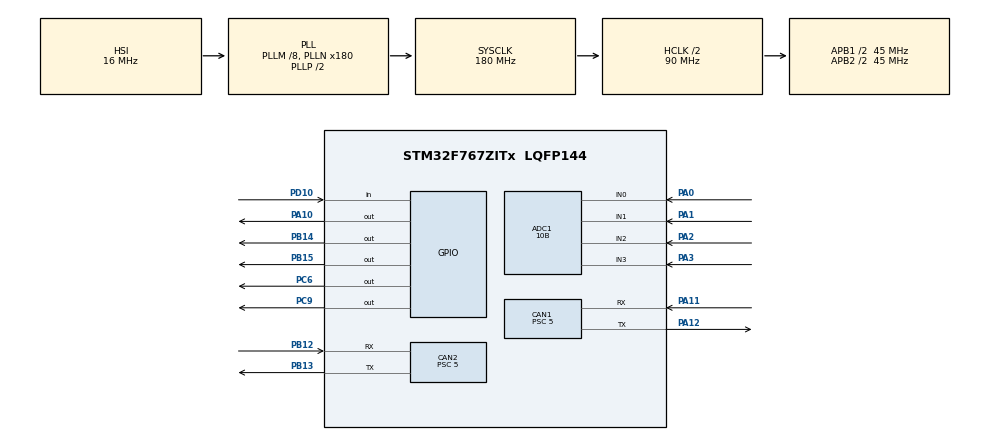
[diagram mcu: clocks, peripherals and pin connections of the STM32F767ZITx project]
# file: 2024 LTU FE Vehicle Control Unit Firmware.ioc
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ADC1.Channel-0\#ChannelRegularConversion=ADC_CHANNEL_0
ADC1.Channel-1\#ChannelRegularConversion=ADC_CHANNEL_1
ADC1.Channel-2\#ChannelRegularConversion=ADC_CHANNEL_2
ADC1.Channel-3\#ChannelRegularConversion=ADC_CHANNEL_3
ADC1.ClockPrescaler=ADC_CLOCK_SYNC_PCLK_DIV8
ADC1.NbrOfConversion=4
ADC1.NbrOfConversionFlag=1
ADC1.Rank-0\#ChannelRegularConversion=1
ADC1.Rank-1\#ChannelRegularConversion=2
ADC1.Rank-2\#ChannelRegularConversion=3
ADC1.Rank-3\#ChannelRegularConversion=4
ADC1.Resolution=ADC_RESOLUTION_10B
ADC1.SamplingTime-0\#ChannelRegularConversion=ADC_SAMPLETIME_56CYCLES
ADC1.SamplingTime-1\#ChannelRegularConversion=ADC_SAMPLETIME_56CYCLES
ADC1.SamplingTime-2\#ChannelRegularConversion=ADC_SAMPLETIME_56CYCLES
ADC1.SamplingTime-3\#ChannelRegularConversion=ADC_SAMPLETIME_56CYCLES
ADC1.master=1
CAN1.BS1=CAN_BS1_15TQ
CAN1.BS2=CAN_BS2_2TQ
CAN1.CalculateBaudRate=500000
CAN1.CalculateTimeBit=2000
CAN1.CalculateTimeQuantum=111.11111111111111
CAN1.NART=DISABLE
CAN1.Prescaler=5
CAN1.TXFP=DISABLE
CAN2.BS1=CAN_BS1_15TQ
CAN2.BS2=CAN_BS2_2TQ
CAN2.CalculateBaudRate=500000
CAN2.CalculateTimeBit=2000
CAN2.CalculateTimeQuantum=111.11111111111111
CAN2.Prescaler=5
Mcu.Family=STM32F7
Mcu.Name=STM32F767ZITx
Mcu.Package=LQFP144
NVIC.CAN1_RX0_IRQn=true\:7\:0\:true\:false\:true\:true\:true\:true
NVIC.CAN1_RX1_IRQn=true\:6\:0\:true\:false\:true\:true\:true\:true
NVIC.CAN2_RX0_IRQn=true\:1\:0\:true\:false\:true\:true\:true\:true
NVIC.CAN2_RX1_IRQn=true\:2\:0\:true\:false\:true\:true\:true\:true
NVIC.PriorityGroup=NVIC_PRIORITYGROUP_4
NVIC.TIM1_CC_IRQn=true\:0\:0\:false\:false\:true\:true\:true\:true
NVIC.TIM2_IRQn=true\:15\:0\:false\:false\:true\:false\:true\:true
NVIC.TimeBase=TIM2_IRQn
NVIC.TimeBaseIP=TIM2
PA0/WKUP.Signal=ADCx_IN0
PA1.Signal=ADCx_IN1
PA10.Signal=GPIO_Output
PA11.Mode=CAN_Activate
PA11.Signal=CAN1_RX
PA12.Mode=CAN_Activate
PA12.Signal=CAN1_TX
PA13.Mode=Serial_Wire
PA13.Signal=SYS_JTMS-SWDIO
PA14.Mode=Serial_Wire
PA14.Signal=SYS_JTCK-SWCLK
PA2.Signal=ADCx_IN2
PA3.Signal=ADCx_IN3
PB12.Mode=CAN_Activate
PB12.Signal=CAN2_RX
PB13.Mode=CAN_Activate
PB13.Signal=CAN2_TX
PB14.Signal=GPIO_Output
PB15.Signal=GPIO_Output
PC14/OSC32_IN.Mode=LSE-External-Clock-Source
PC14/OSC32_IN.Signal=RCC_OSC32_IN
PC15/OSC32_OUT.Mode=LSE-External-Clock-Source
PC15/OSC32_OUT.Signal=RCC_OSC32_OUT
PC6.Signal=GPIO_Output
PC9.Signal=GPIO_Output
PD10.GPIO_PuPd=GPIO_NOPULL
PD10.Signal=GPIO_Input
PH0/OSC_IN.Mode=HSE-External-Oscillator
PH0/OSC_IN.Signal=RCC_OSC_IN
PH1/OSC_OUT.Mode=HSE-External-Oscillator
PH1/OSC_OUT.Signal=RCC_OSC_OUT
ProjectManager.HeapSize=0x200
ProjectManager.StackSize=0x400
ProjectManager.TargetToolchain=STM32CubeIDE
RCC.AHBCLKDivider=RCC_SYSCLK_DIV2
RCC.AHBFreq_Value=90000000
RCC.APB1CLKDivider=RCC_HCLK_DIV2
RCC.APB1Freq_Value=45000000
RCC.APB1TimFreq_Value=90000000
RCC.APB2CLKDivider=RCC_HCLK_DIV2
RCC.APB2Freq_Value=45000000
RCC.APB2TimFreq_Value=90000000
RCC.CortexFreq_Value=90000000
RCC.HCLKFreq_Value=90000000
RCC.HSE_VALUE=25000000
RCC.HSI_VALUE=16000000
RCC.LSE_VALUE=32768
RCC.PLLM=8
RCC.PLLN=180
RCC.SYSCLKFreq_VALUE=180000000
RCC.SYSCLKSource=RCC_SYSCLKSOURCE_PLLCLK
RCC.USBFreq_Value=180000000
RCC.VCOOutputFreq_Value=360000000
SH.ADCx_IN0.0=ADC1_IN0,IN0
SH.ADCx_IN1.0=ADC1_IN1,IN1
SH.ADCx_IN2.0=ADC1_IN2,IN2
SH.ADCx_IN3.0=ADC1_IN3,IN3
TIM1.Channel-Output\ Compare1\ No\ Output=TIM_CHANNEL_1
TIM1.Period=10000-1
TIM1.Prescaler=18000-1
TIM1.Pulse-Output\ Compare1\ No\ Output=10000-1
VP_SYS_VS_tim2.Mode=TIM2
VP_TIM1_VS_ClockSourceINT.Mode=Internal
VP_TIM1_VS_no_output1.Mode=Output Compare1 No Output
board=custom

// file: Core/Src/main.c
/* USER CODE BEGIN Header */
/**
  ******************************************************************************
  * @file           : main.c
  * @brief          : Main program body
  ******************************************************************************
  * @attention
  *
  * Copyright (c) 2024 STMicroelectronics.
  * All rights reserved.
  *
  * This software is licensed under terms that can be found in the LICENSE file
  * in the root directory of this software component.
  * If no LICENSE file comes with this software, it is provided AS-IS.
  *
  ******************************************************************************
  */
/* USER CODE END Header */
#include "main.h"

/* USER CODE BEGIN Includes */

#include "FreeRTOS.h"
#include "task.h"
#include "queue.h"
#include "CAN.h"
#include "string.h"
#include "isolation.h"
#include "temp.h"

/* USER CODE END Includes */

/* USER CODE BEGIN PTD */

// Creates a boolean variable type
typedef enum
{

	true = 1,
	false = 0

} bool;

// Creates a CAN message typedef for queue
typedef struct
{
	uint8_t data[8];
	uint32_t StdID;
	uint32_t RTR;

} CAN_MsgHeaderTypedef;

/* USER CODE END PTD */

/* USER CODE BEGIN PD */

#define IGNITION_BUTTON_THRESHOLD 400
#define THROTTLE_DEVIATION_THRESHOLD 10

#define ADC_SAMPLE_COUNT 15
#define ADC_MAX_LIMIT 1023
#define ADC_MIN_LIMIT 0

#define NODE_GUARDING_PERIOD 150
#define TORQUE_CONTROL_PERIOD 10

#define CAN_HIGH_PRIORITY_FIFO CAN_FILTER_FIFO1
#define CAN_LOW_PRIORITY_FIFO CAN_FilterFIFO0

/* USER CODE END PD */

ADC_HandleTypeDef hadc1;

CAN_HandleTypeDef hcan1;
CAN_HandleTypeDef hcan2;

TIM_HandleTypeDef htim1;

/* USER CODE BEGIN PV */

/******************** GPIO Pin Definitions ********************/
// CAN Fault
GPIO_TypeDef* CAN_FAULT_PORT = GPIOC;
const uint16_t CAN_FAULT_PIN = GPIO_PIN_6;
const GPIO_PinState NO_FAULT_STATE = GPIO_PIN_SET;
const GPIO_PinState FAULT_STATE = GPIO_PIN_RESET;

// CAN Transreceiver
GPIO_TypeDef* CAN_ENABLE_1_PORT = GPIOA;
const uint16_t CAN_ENABLE_1_PIN = GPIO_PIN_10;
const GPIO_PinState CAN_ENABLE = GPIO_PIN_RESET;
const GPIO_PinState CAN_DISABLE = GPIO_PIN_SET;

// Ready to Drive(RTD) Speaker
GPIO_TypeDef* RTD_PIN_PORT = GPIOB;
const uint16_t RTD_PIN = GPIO_PIN_15;
const GPIO_PinState RTD_ACTIVE = GPIO_PIN_SET;
const GPIO_PinState RTD_DISABLE = GPIO_PIN_RESET;

// Ignition
GPIO_TypeDef* IGNITION_PORT = GPIOD;
const uint16_t IGNITION_PIN = GPIO_PIN_10;
const GPIO_PinState IGNITION_ACTIVE = GPIO_PIN_RESET;
const GPIO_PinState IGNITION_INACTIVE = GPIO_PIN_SET;

/******************** Timer Definitions ********************/
TIM_HandleTypeDef* OUTPUT_CAPTURE = &htim1;
const uint32_t IGNITION_OUPUT_CAPTURE = TIM_CHANNEL_1;

/******************** Ignition ********************/
GPIO_PinState buttonState, lastButtonState = IGNITION_INACTIVE;
bool enableCar = false;
unsigned long buttonPressTime = 0;

/******************** Torque Control ********************/
static ADC_ChannelConfTypeDef sConfig;
const uint32_t PRIMARY_THROTTLE_CHANNEL = ADC_CHANNEL_0;
const uint32_t SECONDARY_THROTTLE_CHANNEL = ADC_CHANNEL_1;
const uint32_t PRIMARY_BRAKE_CHANNEL = ADC_CHANNEL_2;
const uint32_t SECONDARY_BRAKE_CHANNEL = ADC_CHANNEL_3;

int max = 0, min = 0;
int maxIndex = 0, minIndex = 0;
uint32_t adcBuffer[ADC_SAMPLE_COUNT] = { 0 };
uint32_t sum = 0, average = 0;

int percentageDeviation = 0;

uint32_t primaryPotValue = 0, secondaryPotValue = 0;
int torqueRefLimit = 5000;

const int SPEED_REF_LIMIT = (6500 + 32768); // RPM' = (Actual RPM + 32768)

// Obtained from throttle mapping
const uint32_t PRIMARY_THROTTLE_POSITION_MAX = 1023;
const uint32_t PRIMARY_THROTTLE_POSITION_MIN = 0;

const uint32_t SECONDARY_THROTTLE_POSITION_MAX = 1023;
const uint32_t SECONDARY_THROTTLE_POSITION_MIN = 0;

const uint32_t PRIMARY_THROTTLE_RANGE_MAX = 1023;
const uint32_t PRIMARY_THROTTLE_RANGE_MIN = 0;

const uint32_t SECONDARY_THROTTLE_RANGE_MAX = 1023;
const uint32_t SECONDARY_THROTTLE_RANGE_MIN = 0;
// Obtained from throttle mapping

// Obtained from brake pedal mapping
const uint32_t PRIMARY_BRAKE_POSITION_MAX = 1023;
const uint32_t PRIMARY_BRAKE_POSITION_MIN = 0;

const uint32_t SECONDARY_BRAKE_POSITION_MAX = 1023;
const uint32_t SECONDARY_BRAKE_POSITION_MIN = 0;

const uint32_t PRIMARY_BRAKE_RANGE_MAX = 1023;
const uint32_t PRIMARY_BRAKE_RANGE_MIN = 0;

const uint32_t SECONDARY_BRAKE_RANGE_MAX = 1023;
const uint32_t SECONDARY_BRAKE_RANGE_MIN = 0;
// Obtained from brake pedal mapping

const int TORQUE_REF_LIMIT_MAX = 9500; // Torque' = (%Torque + 100) / 0.02 Eg. (90%+100) / 0.02 = 9500
const int TORQUE_REF_LIMIT_MIN = 5000; // Torque' = (%Torque + 100) / 0.02

/******************** Error Detection ********************/
bool errorSet[5] = { false };

/******************** IMD Data ********************/
IMD_Info_t imdInfo;

/******************** Temp Sense Data ********************/
TS_ECU1_TX1_t ecu1TX1;
TS_ECU2_TX1_t ecu2TX1;
TS_ECU3_TX1_t ecu3TX1;
TS_ECU4_TX1_t ecu4TX1;
TS_ECU5_TX1_t ecu5TX1;

// Index for error set array
const int PRIM_THROTTLE_SENS_ERR = 0;
const int SECOND_THROTTLE_SENS_ERR = 1;
const int THROTTLE_OFFSET_ERROR = 2;
const int PRIMARY_BRK_SENS_ERROR = 3;
const int SECONDARY_BRK_SENS_ERROR = 4;

/* USER CODE END PV */

void SystemClock_Config(void);
static void MX_GPIO_Init(void);
static void MX_ADC1_Init(void);
static void MX_CAN1_Init(void);
static void MX_CAN2_Init(void);
static void MX_TIM1_Init(void);
/* USER CODE BEGIN PFP */

/******************** Task Handler Initializations ********************/
void vApplicationIdleHook(void);
void Task1_Handler(void* pvParameters);
void Task2_Handler(void* pvParameters);
void Task3_Handler(void* pvParameters);
void Task4_Handler(void* pvParameters);
void Task5_Handler(void* pvParameters);
void Task6_Handler(void* pvParameters);

/******************** Function Initializations ********************/

// Used to map throttle position
long map(long x, long in_min, long in_max, long out_min, long out_max);

// General Purpose constrain function
long constrain(long x, long out_min, long out_max);

// Handle Vehicle Ignition
void ignitionTask();

// Handles ADC Channel Selection
void setADCChannel(ADC_ChannelConfTypeDef* adcChConfig, uint32_t adcChannel);

// Returns the ADC dynamic averaging value (Eliminates induced noise and spikes in signal)
uint32_t getADCAverage(ADC_ChannelConfTypeDef* adcChConfig, uint32_t adcChannel);
uint32_t getPrimaryThrottlePosition(ADC_ChannelConfTypeDef* adcChConfig);
uint32_t getSecondaryThrottlePosition(ADC_ChannelConfTypeDef* adcChConfig);

// Checks for throttle position range/short-to-ground/open-circuit errors
bool primaryThrottleSensorErrorCheck();
bool secondaryThrottleSensorErrorCheck();

// Checks if both sensors are within a threshold range of each other
bool throttleSensorDeviationCheck();

// Requests Torque from the inverter
void torqueRequest(void);

/* USER CODE END PFP */

/* USER CODE BEGIN 0 */

// Task Error
BaseType_t xReturned;

// Task Handles
TaskHandle_t task1Handle = NULL;
TaskHandle_t task2Handle = NULL;
TaskHandle_t task3Handle = NULL;
TaskHandle_t task4Handle = NULL;
TaskHandle_t task5Handle = NULL;
TaskHandle_t task6Handle = NULL;

// Queue Handlers
QueueHandle_t lowPriorityQueue;
QueueHandle_t highPriorityQueue;

// RTD Speaker ISR
void HAL_TIM_OC_DelayElapsedCallback(TIM_HandleTypeDef *htim)
{
  /* Prevent unused argument(s) compilation warning */
  //UNUSED(htim);

	HAL_GPIO_WritePin(RTD_PIN_PORT, RTD_PIN, RTD_DISABLE);

	HAL_TIM_OC_Stop_IT(&htim1, IGNITION_OUPUT_CAPTURE);

  /* NOTE : This function should not be modified, when the callback is needed,
            the HAL_TIM_OC_DelayElapsedCallback could be implemented in the user file
   */
}

// CAN ISR

void HAL_CAN_RxFifo0MsgPendingCallback(CAN_HandleTypeDef *hcan)
{
  /* Prevent unused argument(s) compilation warning */
  //UNUSED(hcan);

	CAN_RxHeaderTypeDef rxHeaderFIFO0;
	uint8_t dataFIFO0[8];
	CAN_MsgHeaderTypedef msgFIFO0;

	if (hcan->Instance == CAN1)
	{
		if (HAL_CAN_GetRxMessage(hcan, CAN_LOW_PRIORITY_FIFO, &rxHeaderFIFO0, dataFIFO0) == HAL_OK)
		{
			msgFIFO0.StdID = rxHeaderFIFO0.StdId;
			msgFIFO0.RTR = rxHeaderFIFO0.RTR;

			memcpy(msgFIFO0.data, dataFIFO0, 8);

			BaseType_t xHigherPriorityTaskWoken = pdFALSE;
			xQueueSendFromISR(lowPriorityQueue, &msgFIFO0, &xHigherPriorityTaskWoken);
			portYIELD_FROM_ISR(xHigherPriorityTaskWoken);
		}
	}

  /* NOTE : This function Should not be modified, when the callback is needed,
            the HAL_CAN_RxFifo0MsgPendingCallback could be implemented in the
            user file
   */
}

void HAL_CAN_RxFifo1MsgPendingCallback(CAN_HandleTypeDef *hcan)
{
  /* Prevent unused argument(s) compilation warning */
  //UNUSED(hcan);

	//CAN_RxHeaderTypeDef rxHeaderFIFO1;
	//uint8_t dataFIFO1[8];
	//CAN_MsgHeaderTypedef msgFIFO1;

  /* NOTE : This function Should not be modified, when the callback is needed,
            the HAL_CAN_RxFifo1MsgPendingCallback could be implemented in the
            user file
   */
}

/* USER CODE END 0 */

int main(void)
{

  /* MCU Configuration--------------------------------------------------------*/

  /* Reset of all peripherals, Initializes the Flash interface and the Systick. */
  HAL_Init();

  /* Configure the system clock */
  SystemClock_Config();

  /* Initialize all configured peripherals */
  MX_GPIO_Init();
  MX_ADC1_Init();
  MX_CAN1_Init();
  MX_CAN2_Init();
  MX_TIM1_Init();
  /* USER CODE BEGIN 2 */

  // ISR Priority reset
  NVIC_SetPriorityGrouping(0);

  // Initialize CAN1
  initializeCAN(&hcan1);

  // CAN FAULT State -> Good
  HAL_GPIO_WritePin(CAN_FAULT_PORT, CAN_FAULT_PIN, NO_FAULT_STATE);

  // Enable CAN 1 Transreceiver
  HAL_GPIO_WritePin(CAN_ENABLE_1_PORT, CAN_ENABLE_1_PIN, CAN_ENABLE);

  /***************************** Queue Creation *****************************/

  lowPriorityQueue = xQueueCreate(10, sizeof(CAN_MsgHeaderTypedef));

  if (lowPriorityQueue == NULL)
  {
	  Error_Handler();
  }

  highPriorityQueue = xQueueCreate(5, sizeof(CAN_MsgHeaderTypedef));

  if (highPriorityQueue == NULL)
  {
	  Error_Handler();
  }

  /***************************** Task Creation *****************************/

  xReturned = xTaskCreate(Task1_Handler, "Node_Guarding", 200, NULL, tskIDLE_PRIORITY + 3, &task1Handle);
  configASSERT(xReturned == pdPASS);

  xReturned = xTaskCreate(Task2_Handler, "Torque_Control", 200, NULL, tskIDLE_PRIORITY + 2, &task2Handle);
  configASSERT(xReturned == pdPASS);

  xReturned = xTaskCreate(Task3_Handler, "Ignition", 200, NULL, tskIDLE_PRIORITY + 1, &task3Handle);
  configASSERT(xReturned == pdPASS);

  xReturned = xTaskCreate(Task4_Handler, "Process_CAN_Data", 200, NULL, tskIDLE_PRIORITY + 1, &task4Handle);
  configASSERT(xReturned == pdPASS);

  xReturned = xTaskCreate(Task5_Handler, "Analyze_CAN_Data", 200, NULL, tskIDLE_PRIORITY + 1, &task5Handle);
  configASSERT(xReturned == pdPASS);

  xReturned = xTaskCreate(Task6_Handler, "Torque_Derate", 200, NULL, tskIDLE_PRIORITY + 1, &task6Handle);
  configASSERT(xReturned == pdPASS);

  vTaskStartScheduler();

  /* USER CODE END 2 */

  /* Infinite loop */
  while (1)
  {

  }
}

void SystemClock_Config(void)
{
  RCC_OscInitTypeDef RCC_OscInitStruct = {0};
  RCC_ClkInitTypeDef RCC_ClkInitStruct = {0};

  /** Configure the main internal regulator output voltage
  */
  __HAL_RCC_PWR_CLK_ENABLE();
  __HAL_PWR_VOLTAGESCALING_CONFIG(PWR_REGULATOR_VOLTAGE_SCALE3);

  /** Initializes the RCC Oscillators according to the specified parameters
  * in the RCC_OscInitTypeDef structure.
  */
  RCC_OscInitStruct.OscillatorType = RCC_OSCILLATORTYPE_HSI;
  RCC_OscInitStruct.HSIState = RCC_HSI_ON;
  RCC_OscInitStruct.HSICalibrationValue = RCC_HSICALIBRATION_DEFAULT;
  RCC_OscInitStruct.PLL.PLLState = RCC_PLL_ON;
  RCC_OscInitStruct.PLL.PLLSource = RCC_PLLSOURCE_HSI;
  RCC_OscInitStruct.PLL.PLLM = 8;
  RCC_OscInitStruct.PLL.PLLN = 180;
  RCC_OscInitStruct.PLL.PLLP = RCC_PLLP_DIV2;
  RCC_OscInitStruct.PLL.PLLQ = 2;
  RCC_OscInitStruct.PLL.PLLR = 2;
  if (HAL_RCC_OscConfig(&RCC_OscInitStruct) != HAL_OK)
  {
    Error_Handler();
  }

  /** Initializes the CPU, AHB and APB buses clocks
  */
  RCC_ClkInitStruct.ClockType = RCC_CLOCKTYPE_HCLK|RCC_CLOCKTYPE_SYSCLK
                              |RCC_CLOCKTYPE_PCLK1|RCC_CLOCKTYPE_PCLK2;
  RCC_ClkInitStruct.SYSCLKSource = RCC_SYSCLKSOURCE_PLLCLK;
  RCC_ClkInitStruct.AHBCLKDivider = RCC_SYSCLK_DIV2;
  RCC_ClkInitStruct.APB1CLKDivider = RCC_HCLK_DIV2;
  RCC_ClkInitStruct.APB2CLKDivider = RCC_HCLK_DIV2;

  if (HAL_RCC_ClockConfig(&RCC_ClkInitStruct, FLASH_LATENCY_2) != HAL_OK)
  {
    Error_Handler();
  }
}

static void MX_ADC1_Init(void)
{

  ADC_ChannelConfTypeDef sConfig = {0};

  /** Configure the global features of the ADC (Clock, Resolution, Data Alignment and number of conversion)
  */
  hadc1.Instance = ADC1;
  hadc1.Init.ClockPrescaler = ADC_CLOCK_SYNC_PCLK_DIV8;
  hadc1.Init.Resolution = ADC_RESOLUTION_10B;
  hadc1.Init.ScanConvMode = ADC_SCAN_ENABLE;
  hadc1.Init.ContinuousConvMode = DISABLE;
  hadc1.Init.DiscontinuousConvMode = DISABLE;
  hadc1.Init.ExternalTrigConvEdge = ADC_EXTERNALTRIGCONVEDGE_NONE;
  hadc1.Init.ExternalTrigConv = ADC_SOFTWARE_START;
  hadc1.Init.DataAlign = ADC_DATAALIGN_RIGHT;
  hadc1.Init.NbrOfConversion = 4;
  hadc1.Init.DMAContinuousRequests = DISABLE;
  hadc1.Init.EOCSelection = ADC_EOC_SINGLE_CONV;
  if (HAL_ADC_Init(&hadc1) != HAL_OK)
  {
    Error_Handler();
  }

  /** Configure for the selected ADC regular channel its corresponding rank in the sequencer and its sample time.
  */
  sConfig.Channel = ADC_CHANNEL_0;
  sConfig.Rank = ADC_REGULAR_RANK_1;
  sConfig.SamplingTime = ADC_SAMPLETIME_56CYCLES;
  if (HAL_ADC_ConfigChannel(&hadc1, &sConfig) != HAL_OK)
  {
    Error_Handler();
  }

  /** Configure for the selected ADC regular channel its corresponding rank in the sequencer and its sample time.
  */
  sConfig.Channel = ADC_CHANNEL_1;
  sConfig.Rank = ADC_REGULAR_RANK_2;
  if (HAL_ADC_ConfigChannel(&hadc1, &sConfig) != HAL_OK)
  {
    Error_Handler();
  }

  /** Configure for the selected ADC regular channel its corresponding rank in the sequencer and its sample time.
  */
  sConfig.Channel = ADC_CHANNEL_2;
  sConfig.Rank = ADC_REGULAR_RANK_3;
  if (HAL_ADC_ConfigChannel(&hadc1, &sConfig) != HAL_OK)
  {
    Error_Handler();
  }

  /** Configure for the selected ADC regular channel its corresponding rank in the sequencer and its sample time.
  */
  sConfig.Channel = ADC_CHANNEL_3;
  sConfig.Rank = ADC_REGULAR_RANK_4;
  if (HAL_ADC_ConfigChannel(&hadc1, &sConfig) != HAL_OK)
  {
    Error_Handler();
  }

}

static void MX_CAN1_Init(void)
{

  hcan1.Instance = CAN1;
  hcan1.Init.Prescaler = 5;
  hcan1.Init.Mode = CAN_MODE_NORMAL;
  hcan1.Init.SyncJumpWidth = CAN_SJW_1TQ;
  hcan1.Init.TimeSeg1 = CAN_BS1_15TQ;
  hcan1.Init.TimeSeg2 = CAN_BS2_2TQ;
  hcan1.Init.TimeTriggeredMode = DISABLE;
  hcan1.Init.AutoBusOff = DISABLE;
  hcan1.Init.AutoWakeUp = DISABLE;
  hcan1.Init.AutoRetransmission = DISABLE;
  hcan1.Init.ReceiveFifoLocked = DISABLE;
  hcan1.Init.TransmitFifoPriority = DISABLE;
  if (HAL_CAN_Init(&hcan1) != HAL_OK)
  {
    Error_Handler();
  }

}

static void MX_CAN2_Init(void)
{

  hcan2.Instance = CAN2;
  hcan2.Init.Prescaler = 5;
  hcan2.Init.Mode = CAN_MODE_NORMAL;
  hcan2.Init.SyncJumpWidth = CAN_SJW_1TQ;
  hcan2.Init.TimeSeg1 = CAN_BS1_15TQ;
  hcan2.Init.TimeSeg2 = CAN_BS2_2TQ;
  hcan2.Init.TimeTriggeredMode = DISABLE;
  hcan2.Init.AutoBusOff = DISABLE;
  hcan2.Init.AutoWakeUp = DISABLE;
  hcan2.Init.AutoRetransmission = DISABLE;
  hcan2.Init.ReceiveFifoLocked = DISABLE;
  hcan2.Init.TransmitFifoPriority = DISABLE;
  if (HAL_CAN_Init(&hcan2) != HAL_OK)
  {
    Error_Handler();
  }

}

static void MX_TIM1_Init(void)
{

  TIM_ClockConfigTypeDef sClockSourceConfig = {0};
  TIM_MasterConfigTypeDef sMasterConfig = {0};
  TIM_OC_InitTypeDef sConfigOC = {0};
  TIM_BreakDeadTimeConfigTypeDef sBreakDeadTimeConfig = {0};

  htim1.Instance = TIM1;
  htim1.Init.Prescaler = 18000-1;
  htim1.Init.CounterMode = TIM_COUNTERMODE_UP;
  htim1.Init.Period = 10000-1;
  htim1.Init.ClockDivision = TIM_CLOCKDIVISION_DIV1;
  htim1.Init.RepetitionCounter = 0;
  htim1.Init.AutoReloadPreload = TIM_AUTORELOAD_PRELOAD_DISABLE;
  if (HAL_TIM_Base_Init(&htim1) != HAL_OK)
  {
    Error_Handler();
  }
  sClockSourceConfig.ClockSource = TIM_CLOCKSOURCE_INTERNAL;
  if (HAL_TIM_ConfigClockSource(&htim1, &sClockSourceConfig) != HAL_OK)
  {
    Error_Handler();
  }
  if (HAL_TIM_OC_Init(&htim1) != HAL_OK)
  {
    Error_Handler();
  }
  sMasterConfig.MasterOutputTrigger = TIM_TRGO_RESET;
  sMasterConfig.MasterOutputTrigger2 = TIM_TRGO2_RESET;
  sMasterConfig.MasterSlaveMode = TIM_MASTERSLAVEMODE_DISABLE;
  if (HAL_TIMEx_MasterConfigSynchronization(&htim1, &sMasterConfig) != HAL_OK)
  {
    Error_Handler();
  }
  sConfigOC.OCMode = TIM_OCMODE_TIMING;
  sConfigOC.Pulse = 10000-1;
  sConfigOC.OCPolarity = TIM_OCPOLARITY_HIGH;
  sConfigOC.OCNPolarity = TIM_OCNPOLARITY_HIGH;
  sConfigOC.OCFastMode = TIM_OCFAST_DISABLE;
  sConfigOC.OCIdleState = TIM_OCIDLESTATE_RESET;
  sConfigOC.OCNIdleState = TIM_OCNIDLESTATE_RESET;
  if (HAL_TIM_OC_ConfigChannel(&htim1, &sConfigOC, TIM_CHANNEL_1) != HAL_OK)
  {
    Error_Handler();
  }
  sBreakDeadTimeConfig.OffStateRunMode = TIM_OSSR_DISABLE;
  sBreakDeadTimeConfig.OffStateIDLEMode = TIM_OSSI_DISABLE;
  sBreakDeadTimeConfig.LockLevel = TIM_LOCKLEVEL_OFF;
  sBreakDeadTimeConfig.DeadTime = 0;
  sBreakDeadTimeConfig.BreakState = TIM_BREAK_DISABLE;
  sBreakDeadTimeConfig.BreakPolarity = TIM_BREAKPOLARITY_HIGH;
  sBreakDeadTimeConfig.BreakFilter = 0;
  sBreakDeadTimeConfig.Break2State = TIM_BREAK2_DISABLE;
  sBreakDeadTimeConfig.Break2Polarity = TIM_BREAK2POLARITY_HIGH;
  sBreakDeadTimeConfig.Break2Filter = 0;
  sBreakDeadTimeConfig.AutomaticOutput = TIM_AUTOMATICOUTPUT_DISABLE;
  if (HAL_TIMEx_ConfigBreakDeadTime(&htim1, &sBreakDeadTimeConfig) != HAL_OK)
  {
    Error_Handler();
  }

}

static void MX_GPIO_Init(void)
{
  GPIO_InitTypeDef GPIO_InitStruct = {0};

  /* GPIO Ports Clock Enable */
  __HAL_RCC_GPIOC_CLK_ENABLE();
  __HAL_RCC_GPIOH_CLK_ENABLE();
  __HAL_RCC_GPIOA_CLK_ENABLE();
  __HAL_RCC_GPIOB_CLK_ENABLE();
  __HAL_RCC_GPIOD_CLK_ENABLE();

  /*Configure GPIO pin Output Level */
  HAL_GPIO_WritePin(GPIOB, GPIO_PIN_14|GPIO_PIN_15, GPIO_PIN_RESET);

  /*Configure GPIO pin Output Level */
  HAL_GPIO_WritePin(GPIOC, GPIO_PIN_6|GPIO_PIN_9, GPIO_PIN_RESET);

  /*Configure GPIO pin Output Level */
  HAL_GPIO_WritePin(GPIOA, GPIO_PIN_10, GPIO_PIN_RESET);

  /*Configure GPIO pins : PB14 PB15 */
  GPIO_InitStruct.Pin = GPIO_PIN_14|GPIO_PIN_15;
  GPIO_InitStruct.Mode = GPIO_MODE_OUTPUT_PP;
  GPIO_InitStruct.Pull = GPIO_NOPULL;
  GPIO_InitStruct.Speed = GPIO_SPEED_FREQ_LOW;
  HAL_GPIO_Init(GPIOB, &GPIO_InitStruct);

  /*Configure GPIO pin : PD10 */
  GPIO_InitStruct.Pin = GPIO_PIN_10;
  GPIO_InitStruct.Mode = GPIO_MODE_INPUT;
  GPIO_InitStruct.Pull = GPIO_NOPULL;
  HAL_GPIO_Init(GPIOD, &GPIO_InitStruct);

  /*Configure GPIO pins : PC6 PC9 */
  GPIO_InitStruct.Pin = GPIO_PIN_6|GPIO_PIN_9;
  GPIO_InitStruct.Mode = GPIO_MODE_OUTPUT_PP;
  GPIO_InitStruct.Pull = GPIO_NOPULL;
  GPIO_InitStruct.Speed = GPIO_SPEED_FREQ_LOW;
  HAL_GPIO_Init(GPIOC, &GPIO_InitStruct);

  /*Configure GPIO pin : PA10 */
  GPIO_InitStruct.Pin = GPIO_PIN_10;
  GPIO_InitStruct.Mode = GPIO_MODE_OUTPUT_PP;
  GPIO_InitStruct.Pull = GPIO_NOPULL;
  GPIO_InitStruct.Speed = GPIO_SPEED_FREQ_LOW;
  HAL_GPIO_Init(GPIOA, &GPIO_InitStruct);

}

/* USER CODE BEGIN 4 */

/***************************** Idle Task *****************************/
void vApplicationIdleHook(void)
{

}

/***************************** Node Guarding Task *****************************/
void Task1_Handler(void* pvParameters)
{
	TickType_t xLastWakeTime;
	const TickType_t xFrequency = NODE_GUARDING_PERIOD;

	xLastWakeTime = xTaskGetTickCount();

	for (;;)
	{
		// Suspend task until period
		vTaskDelayUntil(&xLastWakeTime, xFrequency);

		// Inverter Node Guarding Frame
		nodeGuarding(&hcan1);
	}
}

/***************************** Torque Control Task *****************************/
void Task2_Handler(void* pvParameters)
{
	TickType_t xLastWakeTime;
	const TickType_t xFrequency = TORQUE_CONTROL_PERIOD;

	xLastWakeTime = xTaskGetTickCount();

	for (;;)
	{
		// Suspend task until period
		vTaskDelayUntil(&xLastWakeTime, xFrequency);

		// Throttle Sensor Error Checks
		errorSet[PRIM_THROTTLE_SENS_ERR] = primaryThrottleSensorErrorCheck();

		errorSet[SECOND_THROTTLE_SENS_ERR] = secondaryThrottleSensorErrorCheck();

		errorSet[THROTTLE_OFFSET_ERROR] = throttleSensorDeviationCheck();

		// Torque Request

		torqueRequest();
	}
}

/***************************** Ignition Task *****************************/
void Task3_Handler(void* pvParameters)
{
	for (;;)
	{
		ignitionTask();
	}
}

/***************************** CAN Data Processing Task *****************************/
void Task4_Handler(void* pvParameters)
{
	CAN_MsgHeaderTypedef msg;

	for (;;)
	{
		if (xQueueReceive(lowPriorityQueue, &msg, portMAX_DELAY) == pdPASS)
		{
			switch (msg.StdID)
			{
			case IMD_Info_CANID:
				Unpack_IMD_Info_Isolation(&imdInfo, msg.data, IMD_Info_DLC);
				break;
			case TS_ECU1_TX1_CANID:
				Unpack_TS_ECU1_TX1_Temp(&ecu1TX1, msg.data, TS_ECU1_TX1_DLC);
				break;
			case TS_ECU2_TX1_CANID:
				Unpack_TS_ECU2_TX1_Temp(&ecu2TX1, msg.data, TS_ECU2_TX1_DLC);
				break;
			case TS_ECU3_TX1_CANID:
				Unpack_TS_ECU3_TX1_Temp(&ecu3TX1, msg.data, TS_ECU3_TX1_DLC);
				break;
			case TS_ECU4_TX1_CANID:
				Unpack_TS_ECU4_TX1_Temp(&ecu4TX1, msg.data, TS_ECU4_TX1_DLC);
				break;
			case TS_ECU5_TX1_CANID:
				Unpack_TS_ECU5_TX1_Temp(&ecu5TX1, msg.data, TS_ECU5_TX1_DLC);
				break;
			default:
				break;
			}
		}
	}
}

/***************************** Temp Sense Data Task *****************************/
void Task5_Handler(void* pvParameters)
{
	for (;;)
	{

	}
}

/***************************** Torque Derating Task *****************************/
void Task6_Handler(void* pvParameters)
{
	for (;;)
	{

	}
}

long map(long x, long in_min, long in_max, long out_min, long out_max) {
  return (x - in_min) * (out_max - out_min) / (in_max - in_min) + out_min;
}

long constrain(long x, long out_min, long out_max)
{
	if (x < out_min)
	{
		return out_min;
	}

	if (x > out_max)
	{
		return out_max;
	}

	return x;
}

void ignitionTask(void)
{
	buttonState = HAL_GPIO_ReadPin(IGNITION_PORT, IGNITION_PIN);

	buttonPressTime = HAL_GetTick();

	while (buttonState == IGNITION_ACTIVE)
	{
		if (HAL_GetTick() - buttonPressTime > IGNITION_BUTTON_THRESHOLD)
		{
			startNode(&hcan1);
			clearErrors(&hcan1);

			HAL_GPIO_WritePin(RTD_PIN_PORT, RTD_PIN, RTD_ACTIVE);

			TIM1->CNT = 0;
			HAL_TIM_OC_Start_IT(&htim1, IGNITION_OUPUT_CAPTURE);

			enableCar = true;

			buttonPressTime = HAL_GetTick();
		}

		buttonState = HAL_GPIO_ReadPin(IGNITION_PORT, IGNITION_PIN);
	}

	return;
}

void setADCChannel(ADC_ChannelConfTypeDef* adcChConfig, uint32_t adcChannel)
{
	adcChConfig->Channel = adcChannel;
	adcChConfig->Rank = ADC_REGULAR_RANK_1;
	adcChConfig->SamplingTime = ADC_SAMPLETIME_56CYCLES;

	if (HAL_ADC_ConfigChannel(&hadc1, adcChConfig) != HAL_OK)
	{
		Error_Handler();
	}

	return;
}

uint32_t getADCAverage(ADC_ChannelConfTypeDef* adcChConfig, uint32_t adcChannel)
{
	setADCChannel(adcChConfig, adcChannel);

	sum = 0;

	for (int i = 0; i < ADC_SAMPLE_COUNT; i++)
	{
		HAL_ADC_Start(&hadc1);

		HAL_ADC_PollForConversion(&hadc1, (1U));

		adcBuffer[i] = HAL_ADC_GetValue(&hadc1);

		HAL_ADC_Stop(&hadc1);
	}

	max = adcBuffer[0];

	for (int i = 1; i < ADC_SAMPLE_COUNT; i++)
	{
		if (adcBuffer[i] > max)
		{
			max = adcBuffer[i];
			maxIndex = i;
		}
	}

	min = adcBuffer[0];

	for (int i = 1; i < ADC_SAMPLE_COUNT; i++)
	{
		if (adcBuffer[i] < min)
		{
			min = adcBuffer[i];
			minIndex = i;
		}
	}

	for (int i = 0; i < ADC_SAMPLE_COUNT; i++)
	{
		if (i == minIndex || i == maxIndex)
		{
			sum += 0;
		}
		else
		{
			sum += adcBuffer[i];
		}
	}

	average = sum / (ADC_SAMPLE_COUNT - 2);

	adcBuffer[maxIndex] = average;

	adcBuffer[minIndex] = average;

	sum = 0;

	for (int i = 0; i < ADC_SAMPLE_COUNT; i++)
	{
		sum += adcBuffer[i];
	}

	average = sum / ADC_SAMPLE_COUNT;

	return average;
}

uint32_t getPrimaryThrottlePosition(ADC_ChannelConfTypeDef* adcChConfig)
{
	return constrain(getADCAverage(adcChConfig, PRIMARY_THROTTLE_CHANNEL), ADC_MIN_LIMIT, ADC_MAX_LIMIT);
}

uint32_t getSecondaryThrottlePosition(ADC_ChannelConfTypeDef* adcChConfig)
{
	return constrain(getADCAverage(adcChConfig, SECONDARY_THROTTLE_CHANNEL), ADC_MIN_LIMIT, ADC_MAX_LIMIT);
}

bool primaryThrottleSensorErrorCheck()
{
	primaryPotValue = getPrimaryThrottlePosition(&sConfig);

	if (primaryPotValue <= PRIMARY_THROTTLE_RANGE_MIN || primaryPotValue >= PRIMARY_THROTTLE_RANGE_MAX)
	{
		return true;
	}
	else
	{
		return false;
	}
}

bool secondaryThrottleSensorErrorCheck()
{
	secondaryPotValue = getSecondaryThrottlePosition(&sConfig);

	if (secondaryPotValue <= SECONDARY_THROTTLE_RANGE_MIN || secondaryPotValue >= SECONDARY_THROTTLE_RANGE_MAX)
	{
		return true;
	}
	else
	{
		return false;
	}
}

bool throttleSensorDeviationCheck()
{
	if (errorSet[PRIM_THROTTLE_SENS_ERR] == true || errorSet[SECOND_THROTTLE_SENS_ERR] == true)
	{
		return false;
	}
	else
	{
		primaryPotValue = getPrimaryThrottlePosition(&sConfig);

		secondaryPotValue = getSecondaryThrottlePosition(&sConfig);

		if (primaryPotValue == 0 || secondaryPotValue == 0)
		{
			percentageDeviation = 0;

			return false;
		}
		else
		{
			if (primaryPotValue > secondaryPotValue)
			{
				percentageDeviation = (((primaryPotValue - secondaryPotValue) / (float)primaryPotValue) * 100);
			}
			else if (secondaryPotValue > primaryPotValue)
			{
				percentageDeviation = (((secondaryPotValue - primaryPotValue) / (float)secondaryPotValue) * 100);
			}
			else
			{
				percentageDeviation = 0;
			}
		}

		if (percentageDeviation > THROTTLE_DEVIATION_THRESHOLD)
		{
			return true;
		}
		else
		{
			return false;
		}
	}
}

void torqueRequest(void)
{
	if ((errorSet[PRIMARY_BRK_SENS_ERROR] == true && errorSet[SECOND_THROTTLE_SENS_ERR] == true) || errorSet[THROTTLE_OFFSET_ERROR] == true)
	{
		torqueRefLimit = 5000;
	}
	else if (errorSet[PRIM_THROTTLE_SENS_ERR] == true)
	{
		secondaryPotValue = getSecondaryThrottlePosition(&sConfig);

		torqueRefLimit = map(secondaryPotValue, SECONDARY_THROTTLE_POSITION_MIN, SECONDARY_THROTTLE_POSITION_MAX, TORQUE_REF_LIMIT_MIN, TORQUE_REF_LIMIT_MAX);

		torqueRefLimit = constrain(torqueRefLimit, TORQUE_REF_LIMIT_MIN, TORQUE_REF_LIMIT_MAX);
	}
	else
	{
		primaryPotValue = getPrimaryThrottlePosition(&sConfig);

		torqueRefLimit = map(primaryPotValue, PRIMARY_THROTTLE_POSITION_MIN, PRIMARY_THROTTLE_POSITION_MAX, TORQUE_REF_LIMIT_MIN, TORQUE_REF_LIMIT_MAX);

		torqueRefLimit = constrain(torqueRefLimit, TORQUE_REF_LIMIT_MIN, TORQUE_REF_LIMIT_MAX);
	}

	torqueControlMessage(&hcan1, SPEED_REF_LIMIT, &torqueRefLimit);
}

/* USER CODE END 4 */

void HAL_TIM_PeriodElapsedCallback(TIM_HandleTypeDef *htim)
{
  if (htim->Instance == TIM2) {
    HAL_IncTick();
  }
}

void Error_Handler(void)
{
  __disable_irq();
  while (1)
  {
  }
}
